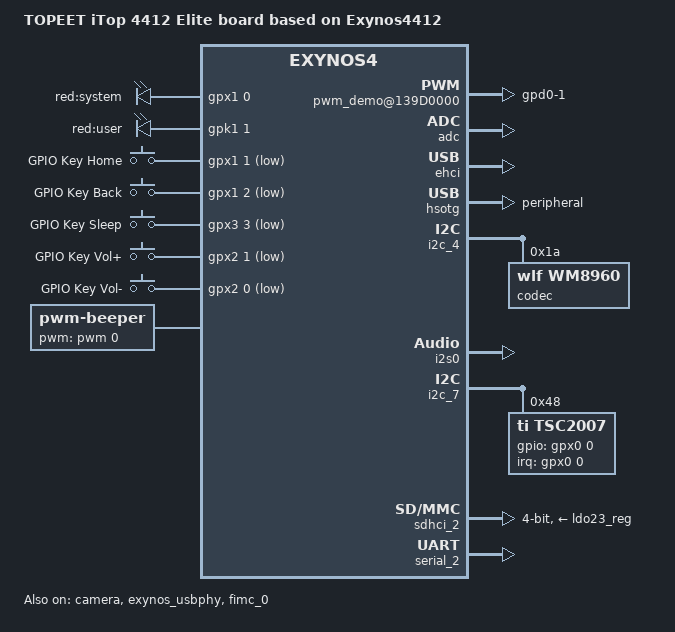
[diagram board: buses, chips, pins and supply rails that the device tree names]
// SPDX-License-Identifier: GPL-2.0
/*
 * TOPEET's Exynos4412 based itop board device tree source
 *
 * Copyright (c) 2016 SUMOMO Computer Association
 *			https://www.sumomo.mobi
 *			Randy Li <ayaka@soulik.info>
 *
 * Device tree source file for TOPEET iTop Exynos 4412 core board
 * which is based on Samsung's Exynos4412 SoC.
 */

/dts-v1/;
#include <dt-bindings/pwm/pwm.h>
#include <dt-bindings/sound/samsung-i2s.h>
#include "exynos4412-itop-scp-core.dtsi"

/ {
	model = "TOPEET iTop 4412 Elite board based on Exynos4412";
	compatible = "topeet,itop4412-elite", "samsung,exynos4412", "samsung,exynos4";

	chosen {
/*		bootargs = "root=/dev/mmcblk0p2 rw rootfstype=ext4 rootdelay=1 rootwait"; */
		bootargs = "root=/dev/nfs nfsroot=192.168.1.104:/home/tigers/nfsroot/rootfs ip=192.168.1.103 init=/linuxrc console=ttySAC2,115200"; 
//		bootargs = "root=/dev/nfs nfsroot=192.168.1.104:/home/tigers/nfsroot/rootfs ip=192.168.1.103 init=/init console=ttySAC2,115200"; 
		stdout-path = "serial2:115200n8";
	};

	leds {
		compatible = "gpio-leds";

		led2 {
			label = "red:system";
			gpios = <&gpx1 0 GPIO_ACTIVE_HIGH>;
			default-state = "off";
			linux,default-trigger = "heartbeat";
		};

		led3 {
			label = "red:user";
			gpios = <&gpk1 1 GPIO_ACTIVE_HIGH>;
			default-state = "off";
		};
	};

	led_pin{
		compatible = "njpt4412,led_demo";
		pinctrl-names = "led_demo";
		pinctrl-0 = <&led_demo>;
//		njpt4412,int_gpio1 = <&gpk1 1 GPIO_ACTIVE_HIGH>;
		njpt4412,int_gpio1 = <&gpl0 4 GPIO_ACTIVE_HIGH>;
		njpt4412,ini_gpio2 = <&gpl2 0 GPIO_ACTIVE_HIGH>;
//		njpt4412,ini_gpio3 = <&gpc0 2 GPIO_ACTIVE_HIGH>;
//		njpt4412,ini_gpio4 = <&gpl1 0 GPIO_ACTIVE_HIGH>;
	};

//	backlight_demo@139D0000{
//		compatible = "njpt4412,backlight_demo";
//		reg = <0x139D0000 0x1000>;
//		pinctrl-names = "backlight_out";
//		pinctrl-0 = <&backlight_out>;
//		njpt4412,backlight = <&gpd0 1 GPIO_ACTIVE_HIGH>;
//		clock-names = "timers";
//		clocks = <&clock CLK_PWM>;
//		interrupts =  <GIC_SPI 40 IRQ_TYPE_NONE>;
//		pwms = <&pwm 1 1000000000 0>;
//		status = "okay";
//	};


//	backlight_pin{
//		compatible = "njpt4412,backlight_demo";
//		pinctrl-names = "backlight_demo";
//		pinctrl-1 = <&backlight_demo>;
//		njpt4412,int_gpio1 = <&gpd0 1 GPIO_ACTIVE_HIGH>;
//		status = "disable";
//	};





	gpio-keys {
		compatible = "gpio-keys";

		home {
			label = "GPIO Key Home";
			linux,code = <KEY_HOME>;
			gpios = <&gpx1 1 GPIO_ACTIVE_LOW>;
		};

		back {
			label = "GPIO Key Back";
			linux,code = <KEY_BACK>;
			gpios = <&gpx1 2 GPIO_ACTIVE_LOW>;
		};

		sleep {
			label = "GPIO Key Sleep";
			linux,code = <KEY_POWER>;
			gpios = <&gpx3 3 GPIO_ACTIVE_LOW>;
		};

		vol-up {
			label = "GPIO Key Vol+";
			linux,code = <KEY_UP>;
			gpios = <&gpx2 1 GPIO_ACTIVE_LOW>;
		};

		vol-down {
			label = "GPIO Key Vol-";
			linux,code = <KEY_DOWN>;
			gpios = <&gpx2 0 GPIO_ACTIVE_LOW>;
		};
	};

 /*********************************************************
	sound {
		compatible = "simple-audio-card";
		simple-audio-card,name = "wm-sound";

		simple-audio-card,format = "i2s";
		simple-audio-card,bitclock-master = <&link0_codec>;
		simple-audio-card,frame-master = <&link0_codec>;

		simple-audio-card,widgets =
			"Microphone", "Mic Jack",
			"Line", "Line In",
			"Line", "Line Out",
			"Speaker", "Speaker",
			"Headphone", "Headphone Jack";
		simple-audio-card,routing =
			"Headphone Jack", "HP_L",
			"Headphone Jack", "HP_R",
			"Speaker", "SPK_LP",
			"Speaker", "SPK_LN",
			"Speaker", "SPK_RP",
			"Speaker", "SPK_RN",
			"LINPUT1", "Mic Jack",
			"LINPUT3", "Mic Jack",
			"RINPUT1", "Mic Jack",
			"RINPUT2", "Mic Jack";

		simple-audio-card,cpu {
			sound-dai = <&i2s0 0>;
		};

		link0_codec: simple-audio-card,codec {
			sound-dai = <&codec>;
			clocks = <&i2s0 CLK_I2S_CDCLK>;
			system-clock-frequency = <11289600>;
		};
	};
 ***********************************************************/

 /* *********************************************************	
	sound {
		compatible = "samsung,njpt4412-wm8960";
		samsung,i2s-controller = <&i2s0>;
		samsung,audio-codec = <&codec>;
		samsung,name = "wm-sound";

		samsung-audio-card,format = "i2s";
		samsung-audio-card,bitclock-master = <&link0_codec>;
		samsung-audio-card,frame-master = <&link0_codec>;

		samsung-audio-card,widgets =
			"Microphone", "Mic Jack",
			"Line", "Line In",
			"Line", "Line Out",
			"Speaker", "Speaker",
			"Headphone", "Headphone Jack";
		samsung-audio-card,routing =
			"Headphone Jack", "HP_L",
			"Headphone Jack", "HP_R",
			"Speaker", "SPK_LP",
			"Speaker", "SPK_LN",
			"Speaker", "SPK_RP",
			"Speaker", "SPK_RN",
			"LINPUT1", "Mic Jack",
			"LINPUT3", "Mic Jack",
			"RINPUT1", "Mic Jack",
			"RINPUT2", "Mic Jack";

		samsung-audio-card,cpu {
			sound-dai = <&i2s0 0>;
		};

		link0_codec: samsung-audio-card,codec {
			sound-dai = <&codec>;
			clocks = <&i2s0 CLK_I2S_CDCLK>;
			system-clock-frequency = <11289600>;
		};
	};
  ******************************************************************* */

	
// /* *********** add by zhuchengzhi 2018-10-09 *************************
	sound{
		compatible = "samsung,njpt4412-wm8960";
		samsung,i2s-controller = <&i2s0>;
		samsung,audio-codec = <&codec>;
		samsung,name = "wm-8960a";
		clocks = <&clock CLK_FOUT_EPLL>;
		clock-names = "fout_epll";
		samsung-audio-card,widgets =
			"Microphone", "Mic Jack",
			"Line", "Line In",
			"Line", "Line Out",
			"Speaker", "Speaker",
			"Headphone", "Headphone Jack";
		samsung-audio-card,routing =
			"Headphone Jack", "HP_L",
			"Headphone Jack", "HP_R",
			"Speaker", "SPK_LP",
			"Speaker", "SPK_LN",
			"Speaker", "SPK_RP",
			"Speaker", "SPK_RN",
			"LINPUT1", "Mic Jack",
			"LINPUT3", "Mic Jack",
			"RINPUT1", "Mic Jack",
			"RINPUT2", "Mic Jack";
	};

//  ******************************************************************* */



	beep {
		compatible = "pwm-beeper";
		pwms = <&pwm 0 4000000 PWM_POLARITY_INVERTED>;
	};

	pwm_demo@139D0000{
		compatible = "tiny4412,pwm_demo";
		reg = <0x139D0000 0x1000>;
		pinctrl-names = "pwm_pin";
		pinctrl-0 = <&pwm_pin>;


		clocks = <&clock CLK_PWM>;
		clock-names = "timers";
	};

	lcd_demo@11C00000{
		compatible = "njpt4412,lcd_demo";
		reg = <0x11C00000 	0x20C0  		/*res1 VIDW0nADD0Bn  		*/
			   0x10010210 	0x08   			/*res2 LCDBLK_CFG 			*/
			   0x10023C80 	0x04    		/*res3 LCD0_CONFIGURATION	*/
			   0x1003C000 	0x1000 			/*res4 Selects Clock Source for xxx */
			   0x11400180 	0x04 			/*res5 GPF0CON */
			   0x114001A0 	0x04 			/*res6 GPF1CON */
			   0x114001C0 	0x04 			/*res7 GPF2CON */
			   0x114001E0 	0x04			/*res8 GPF3CON */
			   0x11400060   0x14			/*res9  GPC0CON*/
		       0x110000E0   0x14>;			/*res10 GPL1CON*/


		pinctrl-names = "default";
		pinctrl-0 = <&lcd_demo>;
		clocks = <&clock CLK_FIMD0 &clock CLK_ACLK160 &clock CLK_MOUT_MPLL_USER_T &clock CLK_SCLK_FIMD0>;
		clock-names = "fimd0","aclk160","lcd_user_t","sclk_clk_fimd0";
	};
};

&pinctrl_1{
	led_demo:led{
		samsung,pins = "gpl2-0","gpl0-4";
		samsung,pin-fnction = <0x1>;
		samsung,pin-pud = <0x0>;
		samsung,pin-drv = <0x0>;
	};
};


&pinctrl_0{
	pwm_pin:pwm_pin{
		samsung,pins = "gpd0-1";	
		samsung,pin-function = <2>;
		samsung,pin-pud = <3>;
		samsung,pin-drv = <3>;
	};
	
	lcd_demo:lcd{
        samsung,pins = 	"gpf0-0", "gpf0-1", "gpf0-2", "gpf0-3", "gpf0-4", "gpf0-5", "gpf0-6", "gpf0-7", 
						"gpf1-0", "gpf1-1", "gpf1-2", "gpf1-3", "gpf1-4", "gpf1-5", "gpf1-6", "gpf1-7", 
						"gpf2-0", "gpf2-1", "gpf2-2", "gpf2-3", "gpf2-4", "gpf2-5", "gpf2-6", "gpf2-7", 
						"gpf3-0", "gpf3-1", "gpf3-2", "gpf3-3", "gpf3-4", "gpf3-5";
		samsung,pin-function = <2>;
		samsung,pin-pud = <0>;
		samsung,pin-drv = <3>;		 			 
	};
};

&adc {
	vdd-supply = <&ldo3_reg>;
	status = "okay";
};

&camera {
	pinctrl-0 = <&cam_port_a_clk_active>;
	pinctrl-names = "default";
	status = "okay";
	assigned-clocks = <&clock CLK_MOUT_CAM0>;
	assigned-clock-parents = <&clock CLK_XUSBXTI>;
};

&clock_audss {
	assigned-clocks = <&clock_audss EXYNOS_MOUT_AUDSS>,
			<&clock_audss EXYNOS_MOUT_I2S>,
			<&clock_audss EXYNOS_DOUT_SRP>,
			<&clock_audss EXYNOS_DOUT_AUD_BUS>;
	assigned-clock-parents = <&clock CLK_FOUT_EPLL>,
			<&clock_audss EXYNOS_MOUT_AUDSS>;
	assigned-clock-rates = <0>, <0>, <112896000>, <11289600>;
};

&ehci {
	status = "okay";
	/* In order to reset USB ethernet */
	samsung,vbus-gpio = <&gpc0 1 GPIO_ACTIVE_HIGH>;

	port@0 {
		status = "okay";
	};

	port@2 {
		status = "okay";
	};
};

&exynos_usbphy {
	status = "okay";
};

&fimc_0 {
	status = "okay";
	assigned-clocks = <&clock CLK_MOUT_FIMC0>,
			<&clock CLK_SCLK_FIMC0>;
	assigned-clock-parents = <&clock CLK_MOUT_MPLL_USER_T>;
	assigned-clock-rates = <0>, <176000000>;
};

&hsotg {
	dr_mode = "peripheral";
//	status = "okay";
};

&i2c_4 {
	samsung,i2c-sda-delay = <100>;
	samsung,i2c-slave-addr = <0x1a>;
	samsung,i2c-max-bus-freq = <20000>;
	pinctrl-0 = <&i2c4_bus>;
	pinctrl-names = "default";
	status = "okay";

	codec: wm8960@1a {
		compatible = "wlf,wm8960";
		reg = <0x1a>;
		clocks = <&pmu_system_controller 0>;
//		clock-names = "MCLK1";
		clock-names = "mclk";
		wlf,shared-lrclk;
		#sound-dai-cells = <0>;
	};
};

&i2s0 {
	pinctrl-0 = <&i2s0_bus>;
	pinctrl-names = "default";
	status = "okay";
};


&i2c_7 { /*add by zhuchengzhi 2018-09-12 */
	samsung,i2c-sda-delay = <100>;
	samsung,i2c-max-bus-freq = <400000>;
	status = "okay";

	tsc2007:touchscreen@48{
		compatible = "ti,tsc2007";
		reg = <0x48>;	
		interrupt-parent = <&gpx0>;
		interrupts = <0 IRQ_TYPE_EDGE_FALLING>;
		gpios = <&gpx0 0 0>;
		ti,x-plate-ohms = <410>;
		ti,size-x = <480>;
		ti,size-y = <272>;
		ti,fuzz-x = <4>;
		ti,fuzz-y = <7>;
		ti,fuzz-pressure = <2>;
		ti,max-pressure = <2048>;
	};
};




&pinctrl_1 {
	ether-reset {
		samsung,pins = "gpc0-1";
		samsung,pin-function = <EXYNOS_PIN_FUNC_INPUT>;
		samsung,pin-pud = <EXYNOS_PIN_PULL_NONE>;
		samsung,pin-drv = <EXYNOS4_PIN_DRV_LV1>;
	};
};

&pwm {
//	status = "okay";
	pinctrl-0 = <&pwm1_out>;
	pinctrl-names = "default";
	samsung,pwm-outputs = <0>;
};

&sdhci_2 {
	bus-width = <4>;
	pinctrl-0 = <&sd2_clk &sd2_cmd &sd2_bus4>;
	pinctrl-names = "default";
	cd-gpio = <&gpx0 7 GPIO_ACTIVE_LOW>;
	cap-sd-highspeed;
	vmmc-supply = <&ldo23_reg>;
	vqmmc-supply = <&ldo17_reg>;
	status = "okay";
};



&serial_2 {
	status = "okay";
};
